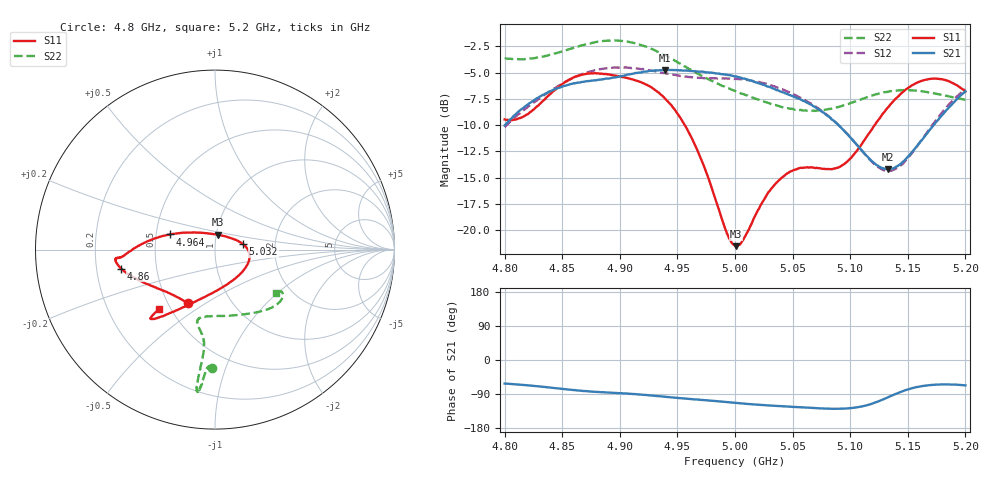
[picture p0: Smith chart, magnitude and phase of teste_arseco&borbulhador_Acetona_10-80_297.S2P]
! Network Analyzer HP8722D
! Hewlett-Packard
! Data name: Linha & Wilkinson
! Saver's name: Rodrigo Anjos
! Comments: Teste da utilização de aquisição
! continua pelo VNA HP8722D
! Time and date: 17/4/2025 16:50
!  Frequency  S11  S21  S12  S22
# HZ  S  MA R 50
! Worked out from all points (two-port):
!   401 points, 4.8 GHz to 5.2 GHz, reference 50 ohm
!   highest |S21| = -4.75 dB at 4.939 GHz (marker M1); lowest = -14.2 dB at 5.133 GHz (marker M2)
!   |S21| within 3 dB of the highest: 4.824 GHz to 5.061 GHz (236.6 MHz wide, 4.79 % of centre); 5.190686 GHz to end of sweep
!   lowest |S11| = -21.5 dB at 5.001 GHz (marker M3), VSWR 1.18, Z = 50.7 + j8.47 ohm
!   |S11| at or under -10 dB: 4.956 GHz to 5.121 GHz (164.8 MHz wide, 3.27 % of centre)
!   |S22| runs from -8.7 to -2.0 dB; largest |S21 - S12| = 0.87
!   S11 on the Smith chart (normalised r, x): 4.8 GHz: 0.63, -0.42; 4.86 GHz: 0.31, -0.09; 4.964 GHz: 0.59, +0.11; 5.032 GHz: 1.37, +0.09; 5.2 GHz: 0.43, -0.36
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4.8e9  0.3365 -116.9  0.3149 -62.2  0.3096 -176.6  0.6572 -91.4
4.819e9  0.3546 -137.2  0.3925 -66.5  0.3809 -176.2  0.6536 -93.1
4.86e9  0.5337 -168.5  0.5007 -79.4  0.53 -179.5  0.7357 -95.5
4.867e9  0.549 -171.2  0.5069 -81.4  0.5505 179.2  0.7576 -95.8
4.899e9  0.54 -175.2  0.5367 -87.6  0.5928 173.0  0.7967 -97.1
4.934e9  0.4509 179.1  0.576 -95.6  0.5664 170.1  0.7005 -97.4
4.939e9  0.4247 177.1  0.579 -97.0  0.5603 170.0  0.6806 -97.1
4.964e9  0.2634 161.4  0.5704 -103.7  0.5334 172.0  0.5695 -96.4
4.993e9  0.09666 111.4  0.549 -111.0  0.5268 174.1  0.4766 -98.8
5e9  0.08478 84.6  0.5384 -113.1  0.5251 174.2  0.4596 -100.1
5.001e9  0.08406 80.4  0.5391 -113.2  0.5258 174.2  0.4574 -100.5
5.007e9  0.08989 57.7  0.5266 -114.9  0.5196 174.2  0.4445 -101.6
5.032e9  0.1589 11.1  0.4747 -120.6  0.4877 173.0  0.3976 -103.4
5.048e9  0.1905 -3.9  0.4392 -123.1  0.4515 172.4  0.378 -99.2
5.067e9  0.199 -24.3  0.3931 -126.4  0.3976 172.1  0.3698 -88.4
5.096e9  0.209 -74.7  0.2917 -128.1  0.2933 174.8  0.3953 -65.9
5.119e9  0.3028 -109.6  0.213 -115.2  0.211 -170.4  0.4368 -50.5
5.133e9  0.3846 -120.7  0.1948 -98.0  0.1912 -151.3  0.4564 -43.7
5.134e9  0.3909 -121.5  0.1953 -96.8  0.1917 -149.8  0.4575 -43.3
5.146e9  0.4558 -127.0  0.2122 -81.8  0.2079 -132.5  0.464 -38.8
5.167e9  0.5207 -132.1  0.2894 -67.0  0.2935 -113.7  0.4538 -33.6
5.2e9  0.457 -133.3  0.4575 -66.9  0.4679 -108.9  0.4171 -35.0
